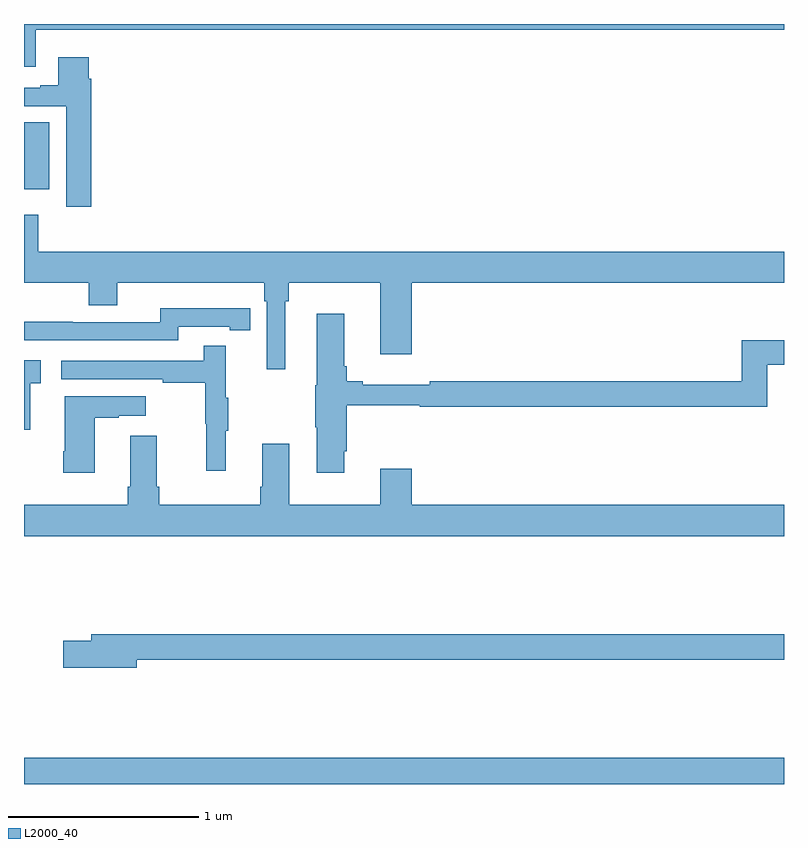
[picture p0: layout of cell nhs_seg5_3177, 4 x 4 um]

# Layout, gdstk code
import gdstk
lib = gdstk.Library(unit=1e-6, precision=1e-09)
def R(c, l, rs):  # rectangles x0, y0, x1, y1
    for r in rs: c.add(gdstk.rectangle(r[:2], r[2:], *l))
def P(c, l, *ps):  # polygons
    for p in ps: c.add(gdstk.Polygon(p, *l))
L2000_40 = (2000, 40)

nhs_seg5_3177 = lib.new_cell('nhs_seg5_3177')
R(nhs_seg5_3177, L2000_40, [(295,844.799,299,844.936), (295,847.929,295.132,848.282)])
P(nhs_seg5_3177, L2000_40, [(295.063,848.768),(299,848.768),(299,848.799),(295,848.799),(295,848.574),(295.063,848.574)],
  [(295.355,848.51),(295.342,848.51),(295.342,848.623),(295.181,848.623),(295.181,848.476),(295.085,848.476),(295.085,848.463),(295,848.463),(295,848.367),(295.223,848.367),(295.223,847.836),(295.355,847.836)],
  [(296.374,847.34),(296.393,847.34),(296.393,847.436),(296.876,847.436),(296.876,847.062),(297.04,847.062),(297.04,847.436),(299,847.436),(299,847.6),(295.076,847.6),(295.076,847.795),(295,847.795),(295,847.436),(295.34,847.436),(295.34,847.319),(295.492,847.319),(295.492,847.436),(296.264,847.436),(296.264,847.34),(296.277,847.34),(296.277,846.981),(296.374,846.981)],
  [(295.812,847.206),(296.084,847.206),(296.084,847.186),(296.192,847.186),(296.192,847.302),(296.084,847.302),(296.084,847.303),(295.716,847.303),(295.716,847.23),(295.256,847.23),(295.256,847.232),(295,847.232),(295,847.134),(295.812,847.134)],
  [(296.686,846.55),(296.699,846.55),(296.699,846.792),(297.082,846.792),(297.082,846.784),(298.913,846.784),(298.913,847.006),(299,847.006),(299,847.135),(298.777,847.135),(298.777,846.92),(297.136,846.92),(297.136,846.901),(296.782,846.901),(296.782,846.92),(296.699,846.92),(296.699,846.997),(296.686,846.997),(296.686,847.273),(296.54,847.273),(296.54,846.897),(296.533,846.897),(296.533,846.676),(296.54,846.676),(296.54,846.438),(296.686,846.438)],
  [(296.063,846.659),(296.074,846.659),(296.074,846.833),(296.063,846.833),(296.063,847.105),(295.945,847.105),(295.945,847.026),(295.197,847.026),(295.197,846.93),(295.729,846.93),(295.729,846.91),(295.953,846.91),(295.953,846.696),(295.96,846.696),(295.96,846.447),(296.063,846.447)],
  [(295.034,846.909),(295.087,846.909),(295.087,847.03),(295,847.03),(295,846.663),(295.034,846.663)],
  [(295.372,846.727),(295.499,846.727),(295.499,846.737),(295.642,846.737),(295.642,846.841),(295.214,846.841),(295.214,846.55),(295.207,846.55),(295.207,846.438),(295.372,846.438)],
  [(299,846.268),(297.04,846.268),(297.04,846.457),(296.876,846.457),(296.876,846.268),(296.395,846.268),(296.395,846.589),(296.255,846.589),(296.255,846.364),(296.243,846.364),(296.243,846.268),(295.712,846.268),(295.712,846.364),(295.699,846.364),(295.699,846.631),(295.559,846.631),(295.559,846.364),(295.547,846.364),(295.547,846.268),(295,846.268),(295,846.104),(299,846.104)],
  [(295.594,845.452),(299,845.452),(299,845.588),(295.355,845.588),(295.355,845.552),(295.206,845.552),(295.206,845.41),(295.594,845.41)])

lib.write_gds('nhs_seg5_3177.gds')
